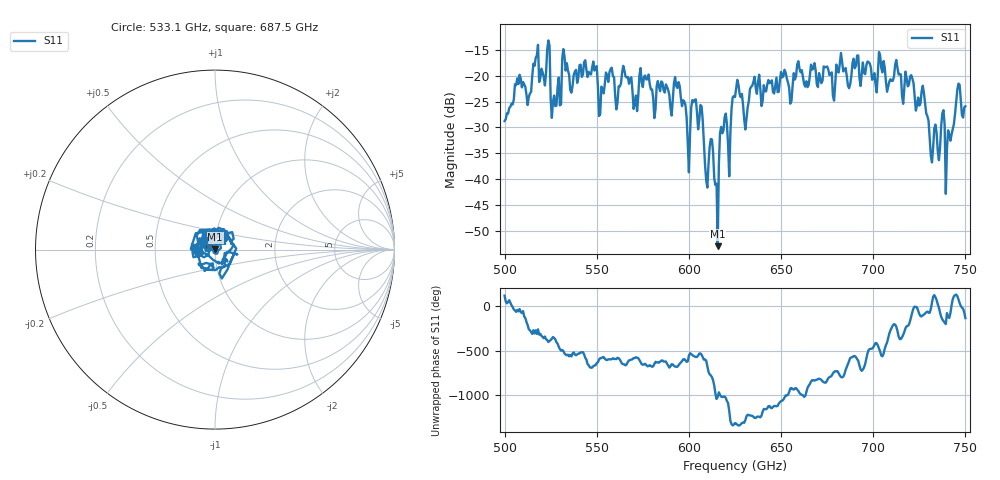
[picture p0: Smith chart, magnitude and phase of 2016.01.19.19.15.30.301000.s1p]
!Created with skrf (http://scikit-rf.org).
# GHz S RI R 50.0
!freq ReS11 ImS11
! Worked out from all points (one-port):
!   401 points, 500 GHz to 750 GHz, reference 50 ohm
!   lowest |S11| = -52.9 dB at 615.6 GHz (marker M1), VSWR 1.00, Z = 50.1 + j0.199 ohm
!   |S11| at or under -10 dB: start of sweep to end of sweep
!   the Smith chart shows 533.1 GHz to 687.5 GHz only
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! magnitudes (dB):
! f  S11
! 500 GHz  -28.8
! 507.5 GHz  -21.6
! 513.1 GHz  -24.1
! 516.9 GHz  -16.6
! 523.8 GHz  -13.2
! 526.9 GHz  -23.9
! 531.2 GHz  -16.8
! 562.5 GHz  -22.1
! 593.8 GHz  -22.4
! 599.4 GHz  -33.0
! 603.1 GHz  -24.7
! 609.4 GHz  -40.2
! 611.9 GHz  -32.2
! 615.6 GHz  -52.9
! 618.1 GHz  -31.1
! 621.9 GHz  -39.4
! 625 GHz  -24.2
! 630.6 GHz  -30.4
! 634.4 GHz  -21.9
! 656.2 GHz  -22.0
! 687.5 GHz  -21.7
! 718.8 GHz  -22.1
! 727.5 GHz  -23.3
! 731.9 GHz  -36.7
! 737.5 GHz  -27.3
! 740.6 GHz  -30.6
! 746.2 GHz  -21.5
! 750 GHz  -25.9
